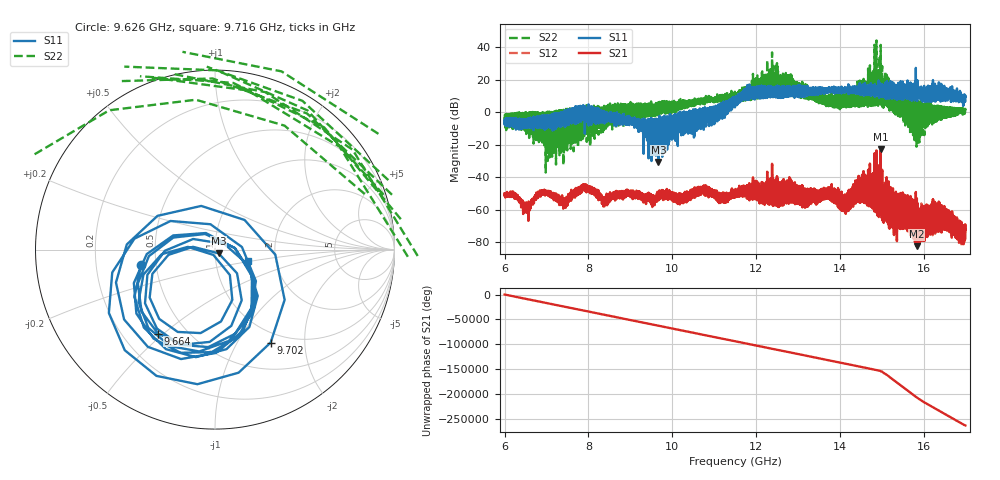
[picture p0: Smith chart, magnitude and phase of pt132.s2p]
#  HZ  S  RI  R  50.00
! Rohde & Schwarz Vector Network Analyzer
! Rohde-Schwarz,ZNA67-2Port,1332450062101215,3.01
! Created: UTC 10/19/2026, 5:46:41 PM
! freq[Hz]  re:S11  im:S11  re:S21  im:S21  re:S12  im:S12  re:S22  im:S22
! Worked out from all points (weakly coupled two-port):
!   11001 points, 6 GHz to 17 GHz, reference 50 ohm
!   highest |S21| = -22.95 dB at 14.98 GHz (marker M1); lowest = -82.5 dB at 15.83 GHz (marker M2)
!   lowest |S11| = -30.7 dB at 9.67 GHz (marker M3), VSWR 1.06, Z = 52 - j2.19 ohm
!   |S11| at or under -10 dB: 9.386482 GHz to 9.391279 GHz (4.797 MHz wide, 0.0511 % of centre); 9.398459 GHz to 9.403016 GHz (4.556 MHz wide, 0.0485 % of centre); 9.586543 GHz to 9.591028 GHz (4.485 MHz wide, 0.0468 % of centre) (the widest 3 of 123)
!   |S22| runs from -37.1 to 44.1 dB; largest |S21 - S12| = 0.0062
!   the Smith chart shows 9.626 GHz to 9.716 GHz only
!   S11 on the Smith chart (normalised r, x): 9.626 GHz: 0.41, -0.09; 9.664 GHz: 0.35, -0.48; 9.702 GHz: 0.85, -1.39; 9.716 GHz: 1.44, -0.18
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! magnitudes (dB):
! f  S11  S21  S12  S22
! 6 GHz  -5.3  -50.0  -49.9  -3.2
! 6.514 GHz  -8.5  -59.2  -59.0  -5.4
! 6.896 GHz  -2.9  -50.4  -50.4  -1.3
! 7.429 GHz  -0.3  -55.5  -55.1  0.5
! 7.834 GHz  -4.1  -48.4  -48.2  -12.3
! 8.401 GHz  -0.7  -56.8  -56.8  1.3
! 9.626 GHz  -7.5  -52.0  -52.1  4.9
! 9.664 GHz  -5.0  -51.6  -51.9  -1.0
! 9.667 GHz  -7.2  -53.3  -53.4  -0.2
! 9.67 GHz  -30.7  -51.0  -51.3  3.5
! 9.702 GHz  -4.4  -53.1  -53.4  1.8
! 9.716 GHz  -14.3  -51.1  -51.3  3.9
! 11.5 GHz  4.1  -51.3  -51.4  8.8
! 12.49 GHz  12.3  -56.3  -55.9  10.2
! 13.33 GHz  11.6  -53.0  -52.5  10.1
! 14.13 GHz  13.7  -60.1  -59.9  5.7
! 14.55 GHz  13.0  -54.8  -54.8  4.4
! 14.98 GHz  14.0  -23.0  -22.9  41.4
! 15.17 GHz  10.8  -66.6  -66.2  3.7
! 15.83 GHz  10.3  -82.5  -82.4  -21.2
! 16.49 GHz  9.2  -71.9  -72.3  -3.5
! 17 GHz  9.6  -72.3  -72.7  1.4
